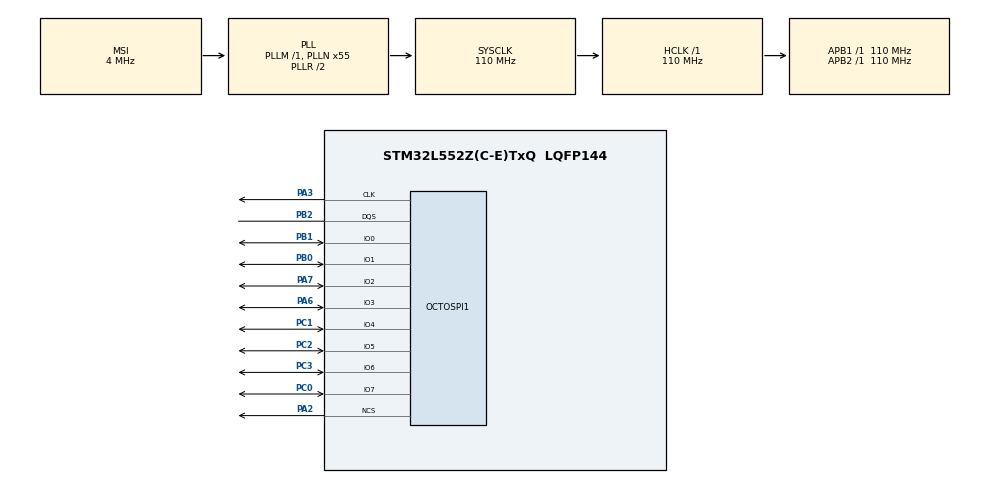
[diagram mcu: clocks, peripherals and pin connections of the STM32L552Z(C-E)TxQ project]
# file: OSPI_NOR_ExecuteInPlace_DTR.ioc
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Dma.OCTOSPI1.0.Channel_PRIV_NPRIV=DMA_CHANNEL_NPRIV_DISABLE
Dma.OCTOSPI1.0.Direction=DMA_PERIPH_TO_MEMORY
Dma.OCTOSPI1.0.EventEnable=DISABLE
Dma.OCTOSPI1.0.Instance=DMA1_Channel1
Dma.OCTOSPI1.0.MemDataAlignment=DMA_MDATAALIGN_BYTE
Dma.OCTOSPI1.0.MemInc=DMA_MINC_ENABLE
Dma.OCTOSPI1.0.Mode=DMA_NORMAL
Dma.OCTOSPI1.0.PeriphDataAlignment=DMA_PDATAALIGN_BYTE
Dma.OCTOSPI1.0.PeriphInc=DMA_PINC_DISABLE
Dma.OCTOSPI1.0.Polarity=HAL_DMAMUX_REQ_GEN_RISING
Dma.OCTOSPI1.0.Priority=DMA_PRIORITY_LOW
Dma.OCTOSPI1.0.RequestNumber=1
Dma.OCTOSPI1.0.SignalID=NONE
Dma.OCTOSPI1.0.SyncEnable=DISABLE
Dma.OCTOSPI1.0.SyncPolarity=HAL_DMAMUX_SYNC_NO_EVENT
Dma.OCTOSPI1.0.SyncRequestNumber=1
Dma.OCTOSPI1.0.SyncSignalID=NONE
Dma.Request0=OCTOSPI1
Mcu.Family=STM32L5
Mcu.Name=STM32L552Z(C-E)TxQ
Mcu.Package=LQFP144
NVIC.DMA1_Channel1_IRQn=true\:0\:0\:false\:false\:true\:false\:true\:true
NVIC.OCTOSPI1_IRQn=true\:0\:0\:false\:false\:true\:true\:true\:true
NVIC.PriorityGroup=NVIC_PRIORITYGROUP_3
OCTOSPI1.ChipSelectHighTime=2
OCTOSPI1.ClockPrescaler=2
OCTOSPI1.DelayBlockBypass=HAL_OSPI_DELAY_BLOCK_USED
OCTOSPI1.DelayHoldQuarterCycle=HAL_OSPI_DHQC_ENABLE
OCTOSPI1.DeviceSize=26
OCTOSPI1.FifoThreshold=4
OCTOSPI1.MemoryType=HAL_OSPI_MEMTYPE_MACRONIX
PA2.GPIO_PuPd=GPIO_PULLUP
PA2.Mode=octods_mode
PA2.Signal=OCTOSPI1_NCS
PA3.Mode=octods_mode
PA3.Signal=OCTOSPI1_CLK
PA6.Mode=octods_mode
PA6.Signal=OCTOSPI1_IO3
PA7.Mode=octods_mode
PA7.Signal=OCTOSPI1_IO2
PB0.Mode=octods_mode
PB0.Signal=OCTOSPI1_IO1
PB1.Mode=octods_mode
PB1.Signal=OCTOSPI1_IO0
PB2.Mode=octods_mode
PB2.Signal=OCTOSPI1_DQS
PC0.Mode=octods_mode
PC0.Signal=OCTOSPI1_IO7
PC1.Mode=octods_mode
PC1.Signal=OCTOSPI1_IO4
PC2.Mode=octods_mode
PC2.Signal=OCTOSPI1_IO5
PC3.Mode=octods_mode
PC3.Signal=OCTOSPI1_IO6
ProjectManager.HeapSize=0x200
ProjectManager.StackSize=0x400
ProjectManager.TargetToolchain=EWARM V8.32
RCC.AHBFreq_Value=110000000
RCC.APB1Freq_Value=110000000
RCC.APB1TimFreq_Value=110000000
RCC.APB2Freq_Value=110000000
RCC.APB2TimFreq_Value=110000000
RCC.CortexFreq_Value=110000000
RCC.HCLKFreq_Value=110000000
RCC.HSE_VALUE=16000000
RCC.HSI48_VALUE=48000000
RCC.HSI_VALUE=16000000
RCC.LSE_VALUE=32768
RCC.MSI_VALUE=4000000
RCC.PLLN=55
RCC.SYSCLKFreq_VALUE=110000000
RCC.SYSCLKSource=RCC_SYSCLKSOURCE_PLLCLK
RCC.VCOOutputFreq_Value=220000000
VP_ICACHE_VS_ICACHE.Mode=DirectMappedCache
VP_PWR_VS_DBSignals.Mode=DisableDeadBatterySignals
board=custom

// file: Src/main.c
/* USER CODE BEGIN Header */
/**
  ******************************************************************************
  * @file    OSPI/OSPI_NOR_ExecuteInPlace_DTR/Src/main.c
  * @author  MCD Application Team
  * @brief   This example describes how to configure and use OctoSPI through
  *          the STM32L5xx HAL API.
  ******************************************************************************
  * @attention
  *
  * Copyright (c) 2019 STMicroelectronics.
  * All rights reserved.
  *
  * This software is licensed under terms that can be found in the LICENSE file
  * in the root directory of this software component.
  * If no LICENSE file comes with this software, it is provided AS-IS.
  *
  ******************************************************************************
  */
/* USER CODE END Header */
#include "main.h"

/* USER CODE BEGIN PD */
#if defined(__ARMCC_VERSION)
extern uint32_t Load$$OSPI_NOR$$Base;
extern uint32_t Load$$OSPI_NOR$$Length;
#elif defined(__ICCARM__)
#pragma section =".ospi_nor"
#pragma section =".ospi_nor_init"
#elif defined(__GNUC__)
extern uint32_t _ospi_nor_init_base;
extern uint32_t _ospi_nor_init_length;
#endif
/* USER CODE END PD */

OSPI_HandleTypeDef hospi1;
DMA_HandleTypeDef hdma_octospi1;

/* USER CODE BEGIN PV */
__IO uint8_t CmdCplt, TxCplt;
/* USER CODE END PV */

void SystemClock_Config(void);
static void MX_GPIO_Init(void);
static void MX_DMA_Init(void);
static void MX_ICACHE_Init(void);
static void MX_OCTOSPI1_Init(void);
/* USER CODE BEGIN PFP */
static void OSPI_WriteEnable(OSPI_HandleTypeDef *hospi);
static void OSPI_AutoPollingMemReady(OSPI_HandleTypeDef *hospi);
static void OSPI_OctalDtrModeCfg(OSPI_HandleTypeDef *hospi);
static void GpioToggle(void);
/* USER CODE END PFP */

int main(void)
{
  /* USER CODE BEGIN 1 */
  OSPI_RegularCmdTypeDef sCommand;
  OSPI_MemoryMappedTypeDef sMemMappedCfg;
  __IO uint32_t ospi_addr = 0;
  uint8_t *flash_addr;
  __IO uint8_t step = 0;
  uint32_t max_size, size, nb_sectors_to_erase;
  /* USER CODE END 1 */

  /* MCU Configuration--------------------------------------------------------*/

  /* Reset of all peripherals, Initializes the Flash interface and the Systick. */
  HAL_Init();

  /* Configure the system clock */
  SystemClock_Config();

  /* USER CODE BEGIN SysInit */
  BSP_LED_Init(LED4);
  BSP_LED_Init(LED5);
  /* USER CODE END SysInit */

  /* Initialize all configured peripherals */
  MX_GPIO_Init();
  MX_DMA_Init();
  MX_ICACHE_Init();
  MX_OCTOSPI1_Init();
  /* USER CODE BEGIN 2 */

  /* Caution: Despite instruction cache is enabled, no need for cache invalidation here */
  /*          since no previous fetch (read/execute) instructions were executed on      */
  /*          a different memory content                                                */

  /* Configure the memory in octal mode ------------------------------------- */
  OSPI_OctalDtrModeCfg(&hospi1);

  sCommand.FlashId            = HAL_OSPI_FLASH_ID_1;
  sCommand.InstructionMode    = HAL_OSPI_INSTRUCTION_8_LINES;
  sCommand.InstructionSize    = HAL_OSPI_INSTRUCTION_16_BITS;
  sCommand.InstructionDtrMode = HAL_OSPI_INSTRUCTION_DTR_ENABLE;
  sCommand.AddressSize        = HAL_OSPI_ADDRESS_32_BITS;
  sCommand.AddressDtrMode     = HAL_OSPI_ADDRESS_DTR_ENABLE;
  sCommand.AlternateBytesMode = HAL_OSPI_ALTERNATE_BYTES_NONE;
  sCommand.DataDtrMode        = HAL_OSPI_DATA_DTR_ENABLE;
  sCommand.SIOOMode           = HAL_OSPI_SIOO_INST_EVERY_CMD;

  flash_addr = 0;
  size = 0;

#if defined(__ARMCC_VERSION)
  max_size = (uint32_t)(&Load$$OSPI_NOR$$Length);
#elif defined(__ICCARM__)
  max_size = __section_size(".ospi_nor_init");
#elif defined(__GNUC__)
  max_size = (uint32_t)((uint8_t *)(&_ospi_nor_init_length));
#endif

  nb_sectors_to_erase = (max_size / OSPI_SECTOR_SIZE) + 1;
  /* USER CODE END 2 */

  /* Infinite loop */
  /* USER CODE BEGIN WHILE */
  while (1)
  {
    switch(step)
    {
      case 0:
        CmdCplt = 0;

        /* Enable write operations ------------------------------------------ */
        OSPI_WriteEnable(&hospi1);

        /* Erasing Sequence ------------------------------------------------- */
        sCommand.OperationType = HAL_OSPI_OPTYPE_COMMON_CFG;
        sCommand.Instruction   = OCTAL_SECTOR_ERASE_CMD;
        sCommand.AddressMode   = HAL_OSPI_ADDRESS_8_LINES;
        sCommand.Address       = ospi_addr;
        sCommand.DataMode      = HAL_OSPI_DATA_NONE;
        sCommand.DummyCycles   = 0;
        sCommand.DQSMode       = HAL_OSPI_DQS_DISABLE;

        if (HAL_OSPI_Command_IT(&hospi1, &sCommand) != HAL_OK)
        {
          Error_Handler();
        }

        step++;
        break;

      case 1:
        if(CmdCplt != 0)
        {
          CmdCplt = 0;

          /* Configure automatic polling mode to wait for end of erase ------ */
          OSPI_AutoPollingMemReady(&hospi1);

          nb_sectors_to_erase --;
          if(nb_sectors_to_erase != 0)
          {
            ospi_addr += OSPI_SECTOR_SIZE;
          }
          else
          {
            /* Initialize the variables for the data writing ---------------- */
            ospi_addr = 0;
#if defined(__ARMCC_VERSION)
            flash_addr = (uint8_t *)(&Load$$OSPI_NOR$$Base);
#elif defined(__ICCARM__)
            flash_addr = (uint8_t *)(__section_begin(".ospi_nor_init"));
#elif defined(__GNUC__)
            flash_addr = (uint8_t *)(&_ospi_nor_init_base);
#endif

            /* Copy only one page if the section is bigger */
            if (max_size > OSPI_PAGE_SIZE)
            {
              size = OSPI_PAGE_SIZE;
            }
            else
            {
              size = max_size;
            }
          }
          step++;
        }
        break;

      case 2:
        TxCplt = 0;

        if(nb_sectors_to_erase != 0)
        {
          step = 0;
        }
        else
        {
          /* Enable write operations ---------------------------------------- */
          OSPI_WriteEnable(&hospi1);

          /* Writing Sequence ----------------------------------------------- */
          sCommand.Instruction = OCTAL_PAGE_PROG_CMD;
          sCommand.DataMode    = HAL_OSPI_DATA_8_LINES;
          sCommand.NbData      = size;

          if (HAL_OSPI_Command(&hospi1, &sCommand, HAL_OSPI_TIMEOUT_DEFAULT_VALUE) != HAL_OK)
          {
            Error_Handler();
          }

          if (HAL_OSPI_Transmit_DMA(&hospi1, flash_addr) != HAL_OK)
          {
            Error_Handler();
          }

          step++;
        }
      break;

      case 3:
        if(TxCplt != 0)
        {
          TxCplt = 0;

          /* Configure automatic polling mode to wait for end of program ----- */
          OSPI_AutoPollingMemReady(&hospi1);

          ospi_addr += size;
          flash_addr += size;

          /* Check if a new page writing is needed */
          if (ospi_addr < max_size)
          {
            /* Update the remaining size if it is less than the page size */
            if ((ospi_addr + size) > max_size)
            {
              size = max_size - ospi_addr;
            }
            step = 2;
          }
          else
          {
            /* Memory-mapped mode configuration ------------------------------- */
            sCommand.OperationType = HAL_OSPI_OPTYPE_WRITE_CFG;
            sCommand.Instruction   = OCTAL_PAGE_PROG_CMD;
            sCommand.DataMode      = HAL_OSPI_DATA_8_LINES;
            sCommand.NbData        = 1;
            sCommand.DQSMode       = HAL_OSPI_DQS_ENABLE;

            if (HAL_OSPI_Command(&hospi1, &sCommand, HAL_OSPI_TIMEOUT_DEFAULT_VALUE) != HAL_OK)
            {
              Error_Handler();
            }

            sCommand.OperationType = HAL_OSPI_OPTYPE_READ_CFG;
            sCommand.Instruction   = OCTAL_IO_DTR_READ_CMD;
            sCommand.DummyCycles   = DUMMY_CLOCK_CYCLES_READ;
            sCommand.DQSMode       = HAL_OSPI_DQS_ENABLE;

            if (HAL_OSPI_Command(&hospi1, &sCommand, HAL_OSPI_TIMEOUT_DEFAULT_VALUE) != HAL_OK)
            {
              Error_Handler();
            }

            sMemMappedCfg.TimeOutActivation = HAL_OSPI_TIMEOUT_COUNTER_DISABLE;

            if (HAL_OSPI_MemoryMapped(&hospi1, &sMemMappedCfg) != HAL_OK)
            {
              Error_Handler();
            }

            step++;
          }
        }
      break;

      case 4:
        /* Execute the code from OSPI NOR memory -------------------------- */
        GpioToggle();
      break;

      default :
        Error_Handler();
    }
    /* USER CODE END WHILE */

  }
}

void SystemClock_Config(void)
{
  RCC_OscInitTypeDef RCC_OscInitStruct = {0};
  RCC_ClkInitTypeDef RCC_ClkInitStruct = {0};

  /** Configure the main internal regulator output voltage
  */
  if (HAL_PWREx_ControlVoltageScaling(PWR_REGULATOR_VOLTAGE_SCALE0) != HAL_OK)
  {
    Error_Handler();
  }

  /** Initializes the RCC Oscillators according to the specified parameters
  * in the RCC_OscInitTypeDef structure.
  */
  RCC_OscInitStruct.OscillatorType = RCC_OSCILLATORTYPE_MSI;
  RCC_OscInitStruct.MSIState = RCC_MSI_ON;
  RCC_OscInitStruct.MSICalibrationValue = RCC_MSICALIBRATION_DEFAULT;
  RCC_OscInitStruct.MSIClockRange = RCC_MSIRANGE_6;
  RCC_OscInitStruct.PLL.PLLState = RCC_PLL_ON;
  RCC_OscInitStruct.PLL.PLLSource = RCC_PLLSOURCE_MSI;
  RCC_OscInitStruct.PLL.PLLM = 1;
  RCC_OscInitStruct.PLL.PLLN = 55;
  RCC_OscInitStruct.PLL.PLLP = RCC_PLLP_DIV7;
  RCC_OscInitStruct.PLL.PLLQ = RCC_PLLQ_DIV2;
  RCC_OscInitStruct.PLL.PLLR = RCC_PLLR_DIV2;
  if (HAL_RCC_OscConfig(&RCC_OscInitStruct) != HAL_OK)
  {
    Error_Handler();
  }

  /** Initializes the CPU, AHB and APB buses clocks
  */
  RCC_ClkInitStruct.ClockType = RCC_CLOCKTYPE_HCLK|RCC_CLOCKTYPE_SYSCLK
                              |RCC_CLOCKTYPE_PCLK1|RCC_CLOCKTYPE_PCLK2;
  RCC_ClkInitStruct.SYSCLKSource = RCC_SYSCLKSOURCE_PLLCLK;
  RCC_ClkInitStruct.AHBCLKDivider = RCC_SYSCLK_DIV1;
  RCC_ClkInitStruct.APB1CLKDivider = RCC_HCLK_DIV1;
  RCC_ClkInitStruct.APB2CLKDivider = RCC_HCLK_DIV1;

  if (HAL_RCC_ClockConfig(&RCC_ClkInitStruct, FLASH_LATENCY_5) != HAL_OK)
  {
    Error_Handler();
  }
}

static void MX_ICACHE_Init(void)
{

  /** Enable instruction cache in 1-way (direct mapped cache)
  */
  if (HAL_ICACHE_ConfigAssociativityMode(ICACHE_1WAY) != HAL_OK)
  {
    Error_Handler();
  }
  if (HAL_ICACHE_Enable() != HAL_OK)
  {
    Error_Handler();
  }

}

static void MX_OCTOSPI1_Init(void)
{

  /* OCTOSPI1 parameter configuration*/
  hospi1.Instance = OCTOSPI1;
  hospi1.Init.FifoThreshold = 4;
  hospi1.Init.DualQuad = HAL_OSPI_DUALQUAD_DISABLE;
  hospi1.Init.MemoryType = HAL_OSPI_MEMTYPE_MACRONIX;
  hospi1.Init.DeviceSize = 26;
  hospi1.Init.ChipSelectHighTime = 2;
  hospi1.Init.FreeRunningClock = HAL_OSPI_FREERUNCLK_DISABLE;
  hospi1.Init.ClockMode = HAL_OSPI_CLOCK_MODE_0;
  hospi1.Init.WrapSize = HAL_OSPI_WRAP_NOT_SUPPORTED;
  hospi1.Init.ClockPrescaler = 2;
  hospi1.Init.SampleShifting = HAL_OSPI_SAMPLE_SHIFTING_NONE;
  hospi1.Init.DelayHoldQuarterCycle = HAL_OSPI_DHQC_ENABLE;
  hospi1.Init.ChipSelectBoundary = 0;
  hospi1.Init.DelayBlockBypass = HAL_OSPI_DELAY_BLOCK_USED;
  hospi1.Init.Refresh = 0;
  if (HAL_OSPI_Init(&hospi1) != HAL_OK)
  {
    Error_Handler();
  }

}

static void MX_DMA_Init(void)
{

  /* DMA controller clock enable */
  __HAL_RCC_DMAMUX1_CLK_ENABLE();
  __HAL_RCC_DMA1_CLK_ENABLE();

  /* DMA interrupt init */
  /* DMA1_Channel1_IRQn interrupt configuration */
  HAL_NVIC_SetPriority(DMA1_Channel1_IRQn, 0, 0);
  HAL_NVIC_EnableIRQ(DMA1_Channel1_IRQn);

}

static void MX_GPIO_Init(void)
{

  /* GPIO Ports Clock Enable */
  __HAL_RCC_GPIOC_CLK_ENABLE();
  __HAL_RCC_GPIOA_CLK_ENABLE();
  __HAL_RCC_GPIOB_CLK_ENABLE();

}

/* USER CODE BEGIN 4 */
/**
  * @brief  Command completed callback.
  * @param  hospi: OSPI handle
  * @retval None
  */
void HAL_OSPI_CmdCpltCallback(OSPI_HandleTypeDef *hospi)
{
  CmdCplt++;
}

/**
  * @brief  Tx Transfer completed callback.
  * @param  hospi: OSPI handle
  * @retval None
  */
 void HAL_OSPI_TxCpltCallback(OSPI_HandleTypeDef *hospi)
{
  TxCplt++;
}

/**
  * @brief  Transfer Error callback.
  * @param  hospi: OSPI handle
  * @retval None
  */
void HAL_OSPI_ErrorCallback(OSPI_HandleTypeDef *hospi)
{
  Error_Handler();
}

/**
  * @brief  This function send a Write Enable and wait it is effective.
  * @param  hospi: OSPI handle
  * @retval None
  */
static void OSPI_WriteEnable(OSPI_HandleTypeDef *hospi)
{
  OSPI_RegularCmdTypeDef  sCommand;
  OSPI_AutoPollingTypeDef sConfig;

  /* Enable write operations ------------------------------------------ */
  sCommand.OperationType      = HAL_OSPI_OPTYPE_COMMON_CFG;
  sCommand.FlashId            = HAL_OSPI_FLASH_ID_1;
  sCommand.Instruction        = OCTAL_WRITE_ENABLE_CMD;
  sCommand.InstructionMode    = HAL_OSPI_INSTRUCTION_8_LINES;
  sCommand.InstructionSize    = HAL_OSPI_INSTRUCTION_16_BITS;
  sCommand.InstructionDtrMode = HAL_OSPI_INSTRUCTION_DTR_ENABLE;
  sCommand.AddressMode        = HAL_OSPI_ADDRESS_NONE;
  sCommand.AlternateBytesMode = HAL_OSPI_ALTERNATE_BYTES_NONE;
  sCommand.DataMode           = HAL_OSPI_DATA_NONE;
  sCommand.DummyCycles        = 0;
  sCommand.DQSMode            = HAL_OSPI_DQS_DISABLE;
  sCommand.SIOOMode           = HAL_OSPI_SIOO_INST_EVERY_CMD;

  if (HAL_OSPI_Command(hospi, &sCommand, HAL_OSPI_TIMEOUT_DEFAULT_VALUE) != HAL_OK)
  {
    Error_Handler();
  }

  /* Configure automatic polling mode to wait for write enabling ---- */
  sCommand.Instruction    = OCTAL_READ_STATUS_REG_CMD;
  sCommand.Address        = 0x0;
  sCommand.AddressMode    = HAL_OSPI_ADDRESS_8_LINES;
  sCommand.AddressSize    = HAL_OSPI_ADDRESS_32_BITS;
  sCommand.AddressDtrMode = HAL_OSPI_ADDRESS_DTR_ENABLE;
  sCommand.DataMode       = HAL_OSPI_DATA_8_LINES;
  sCommand.DataDtrMode    = HAL_OSPI_DATA_DTR_ENABLE;
  sCommand.NbData         = 2;
  sCommand.DummyCycles    = DUMMY_CLOCK_CYCLES_READ_REG;
  sCommand.DQSMode        = HAL_OSPI_DQS_ENABLE;

  if (HAL_OSPI_Command(hospi, &sCommand, HAL_OSPI_TIMEOUT_DEFAULT_VALUE) != HAL_OK)
  {
    Error_Handler();
  }

  sConfig.Match         = WRITE_ENABLE_MATCH_VALUE;
  sConfig.Mask          = WRITE_ENABLE_MASK_VALUE;
  sConfig.MatchMode     = HAL_OSPI_MATCH_MODE_AND;
  sConfig.Interval      = AUTO_POLLING_INTERVAL;
  sConfig.AutomaticStop = HAL_OSPI_AUTOMATIC_STOP_ENABLE;

  if (HAL_OSPI_AutoPolling(hospi, &sConfig, HAL_OSPI_TIMEOUT_DEFAULT_VALUE) != HAL_OK)
  {
    Error_Handler();
  }
}

/**
  * @brief  This function read the SR of the memory and wait the EOP.
  * @param  hospi: OSPI handle
  * @retval None
  */
static void OSPI_AutoPollingMemReady(OSPI_HandleTypeDef *hospi)
{
  OSPI_RegularCmdTypeDef  sCommand;
  OSPI_AutoPollingTypeDef sConfig;

  /* Configure automatic polling mode to wait for memory ready ------ */
  sCommand.OperationType      = HAL_OSPI_OPTYPE_COMMON_CFG;
  sCommand.FlashId            = HAL_OSPI_FLASH_ID_1;
  sCommand.Instruction        = OCTAL_READ_STATUS_REG_CMD;
  sCommand.InstructionMode    = HAL_OSPI_INSTRUCTION_8_LINES;
  sCommand.InstructionSize    = HAL_OSPI_INSTRUCTION_16_BITS;
  sCommand.InstructionDtrMode = HAL_OSPI_INSTRUCTION_DTR_ENABLE;
  sCommand.Address            = 0x0;
  sCommand.AddressMode        = HAL_OSPI_ADDRESS_8_LINES;
  sCommand.AddressSize        = HAL_OSPI_ADDRESS_32_BITS;
  sCommand.AddressDtrMode     = HAL_OSPI_ADDRESS_DTR_ENABLE;
  sCommand.AlternateBytesMode = HAL_OSPI_ALTERNATE_BYTES_NONE;
  sCommand.DataMode           = HAL_OSPI_DATA_8_LINES;
  sCommand.DataDtrMode        = HAL_OSPI_DATA_DTR_ENABLE;
  sCommand.NbData             = 2;
  sCommand.DummyCycles        = DUMMY_CLOCK_CYCLES_READ_REG;
  sCommand.DQSMode            = HAL_OSPI_DQS_ENABLE;
  sCommand.SIOOMode           = HAL_OSPI_SIOO_INST_EVERY_CMD;

  if (HAL_OSPI_Command(hospi, &sCommand, HAL_OSPI_TIMEOUT_DEFAULT_VALUE) != HAL_OK)
  {
    Error_Handler();
  }

  sConfig.Match         = MEMORY_READY_MATCH_VALUE;
  sConfig.Mask          = MEMORY_READY_MASK_VALUE;
  sConfig.MatchMode     = HAL_OSPI_MATCH_MODE_AND;
  sConfig.Interval      = AUTO_POLLING_INTERVAL;
  sConfig.AutomaticStop = HAL_OSPI_AUTOMATIC_STOP_ENABLE;

  if (HAL_OSPI_AutoPolling(hospi, &sConfig, HAL_OSPI_TIMEOUT_DEFAULT_VALUE) != HAL_OK)
  {
    Error_Handler();
  }
}

/**
  * @brief  This function configure the memory in Octal DTR mode.
  * @param  hospi: OSPI handle
  * @retval None
  */
static void OSPI_OctalDtrModeCfg(OSPI_HandleTypeDef *hospi)
{
  OSPI_RegularCmdTypeDef  sCommand;
  OSPI_AutoPollingTypeDef sConfig;
  uint8_t reg;

  /* Enable write operations ---------------------------------------- */
  sCommand.OperationType      = HAL_OSPI_OPTYPE_COMMON_CFG;
  sCommand.FlashId            = HAL_OSPI_FLASH_ID_1;
  sCommand.Instruction        = WRITE_ENABLE_CMD;
  sCommand.InstructionMode    = HAL_OSPI_INSTRUCTION_1_LINE;
  sCommand.InstructionSize    = HAL_OSPI_INSTRUCTION_8_BITS;
  sCommand.InstructionDtrMode = HAL_OSPI_INSTRUCTION_DTR_DISABLE;
  sCommand.AddressMode        = HAL_OSPI_ADDRESS_NONE;
  sCommand.AlternateBytesMode = HAL_OSPI_ALTERNATE_BYTES_NONE;
  sCommand.DataMode           = HAL_OSPI_DATA_NONE;
  sCommand.DummyCycles        = 0;
  sCommand.DQSMode            = HAL_OSPI_DQS_DISABLE;
  sCommand.SIOOMode           = HAL_OSPI_SIOO_INST_EVERY_CMD;

  if (HAL_OSPI_Command(hospi, &sCommand, HAL_OSPI_TIMEOUT_DEFAULT_VALUE) != HAL_OK)
  {
    Error_Handler();
  }

  /* Configure automatic polling mode to wait for write enabling ---- */
  sCommand.Instruction = READ_STATUS_REG_CMD;
  sCommand.DataMode    = HAL_OSPI_DATA_1_LINE;
  sCommand.DataDtrMode = HAL_OSPI_DATA_DTR_DISABLE;
  sCommand.NbData      = 1;

  if (HAL_OSPI_Command(hospi, &sCommand, HAL_OSPI_TIMEOUT_DEFAULT_VALUE) != HAL_OK)
  {
    Error_Handler();
  }

  sConfig.Match         = WRITE_ENABLE_MATCH_VALUE;
  sConfig.Mask          = WRITE_ENABLE_MASK_VALUE;
  sConfig.MatchMode     = HAL_OSPI_MATCH_MODE_AND;
  sConfig.Interval      = AUTO_POLLING_INTERVAL;
  sConfig.AutomaticStop = HAL_OSPI_AUTOMATIC_STOP_ENABLE;

  if (HAL_OSPI_AutoPolling(hospi, &sConfig, HAL_OSPI_TIMEOUT_DEFAULT_VALUE) != HAL_OK)
  {
    Error_Handler();
  }

  /* Write Configuration register 2 (with new dummy cycles) --------- */
  sCommand.Instruction    = WRITE_CFG_REG_2_CMD;
  sCommand.Address        = CONFIG_REG2_ADDR3;
  sCommand.AddressMode    = HAL_OSPI_ADDRESS_1_LINE;
  sCommand.AddressSize    = HAL_OSPI_ADDRESS_32_BITS;
  sCommand.AddressDtrMode = HAL_OSPI_ADDRESS_DTR_DISABLE;

  if (HAL_OSPI_Command(hospi, &sCommand, HAL_OSPI_TIMEOUT_DEFAULT_VALUE) != HAL_OK)
  {
    Error_Handler();
  }

  reg = CR2_DUMMY_CYCLES_66MHZ;

  if (HAL_OSPI_Transmit(hospi, &reg, HAL_OSPI_TIMEOUT_DEFAULT_VALUE) != HAL_OK)
  {
    Error_Handler();
  }

  /* Wait that the memory is ready ---------------------------------- */
  sCommand.Instruction = READ_STATUS_REG_CMD;
  sCommand.AddressMode = HAL_OSPI_ADDRESS_NONE;

  if (HAL_OSPI_Command(hospi, &sCommand, HAL_OSPI_TIMEOUT_DEFAULT_VALUE) != HAL_OK)
  {
    Error_Handler();
  }

  sConfig.Match = MEMORY_READY_MATCH_VALUE;
  sConfig.Mask  = MEMORY_READY_MASK_VALUE;

  if (HAL_OSPI_AutoPolling(hospi, &sConfig, HAL_OSPI_TIMEOUT_DEFAULT_VALUE) != HAL_OK)
  {
    Error_Handler();
  }

  /* Enable write operations ---------------------------------------- */
  sCommand.Instruction = WRITE_ENABLE_CMD;
  sCommand.DataMode    = HAL_OSPI_DATA_NONE;

  if (HAL_OSPI_Command(hospi, &sCommand, HAL_OSPI_TIMEOUT_DEFAULT_VALUE) != HAL_OK)
  {
    Error_Handler();
  }

  /* Configure automatic polling mode to wait for write enabling ---- */
  sCommand.Instruction = READ_STATUS_REG_CMD;
  sCommand.DataMode    = HAL_OSPI_DATA_1_LINE;

  if (HAL_OSPI_Command(hospi, &sCommand, HAL_OSPI_TIMEOUT_DEFAULT_VALUE) != HAL_OK)
  {
    Error_Handler();
  }

  sConfig.Match = WRITE_ENABLE_MATCH_VALUE;
  sConfig.Mask  = WRITE_ENABLE_MASK_VALUE;

  if (HAL_OSPI_AutoPolling(hospi, &sConfig, HAL_OSPI_TIMEOUT_DEFAULT_VALUE) != HAL_OK)
  {
    Error_Handler();
  }

  /* Write Configuration register 2 (with octal mode) --------------- */
  sCommand.Instruction = WRITE_CFG_REG_2_CMD;
  sCommand.Address     = CONFIG_REG2_ADDR1;
  sCommand.AddressMode = HAL_OSPI_ADDRESS_1_LINE;

  if (HAL_OSPI_Command(hospi, &sCommand, HAL_OSPI_TIMEOUT_DEFAULT_VALUE) != HAL_OK)
  {
    Error_Handler();
  }

  reg = CR2_DTR_OPI_ENABLE;

  if (HAL_OSPI_Transmit(hospi, &reg, HAL_OSPI_TIMEOUT_DEFAULT_VALUE) != HAL_OK)
  {
    Error_Handler();
  }

  /* Wait that the configuration is effective and check that memory is ready */
  HAL_Delay(MEMORY_REG_WRITE_DELAY);

  /* Wait that the memory is ready ---------------------------------- */
  OSPI_AutoPollingMemReady(hospi);
}

/**
  * @brief  Toggle the GPIOs
  * @param  None
  * @retval None
  */
#if defined(__ICCARM__)
static void GpioToggle(void) @ ".ospi_nor"
#elif defined(__ARMCC_VERSION) || defined(__GNUC__)
static void __attribute__((section(".ospi_nor"), noinline)) GpioToggle(void)
#endif
{
  BSP_LED_Toggle(LED4);
  /* Insert delay 100 ms */
  HAL_Delay(100);
  BSP_LED_Toggle(LED5);
  /* Insert delay 100 ms */
  HAL_Delay(100);
}
/* USER CODE END 4 */

void Error_Handler(void)
{
  /* USER CODE BEGIN Error_Handler_Debug */
  BSP_LED_On(LED_RED);

  /* User may add here some code to deal with this error */
  while(1)
  {
  }
  /* USER CODE END Error_Handler_Debug */
}
